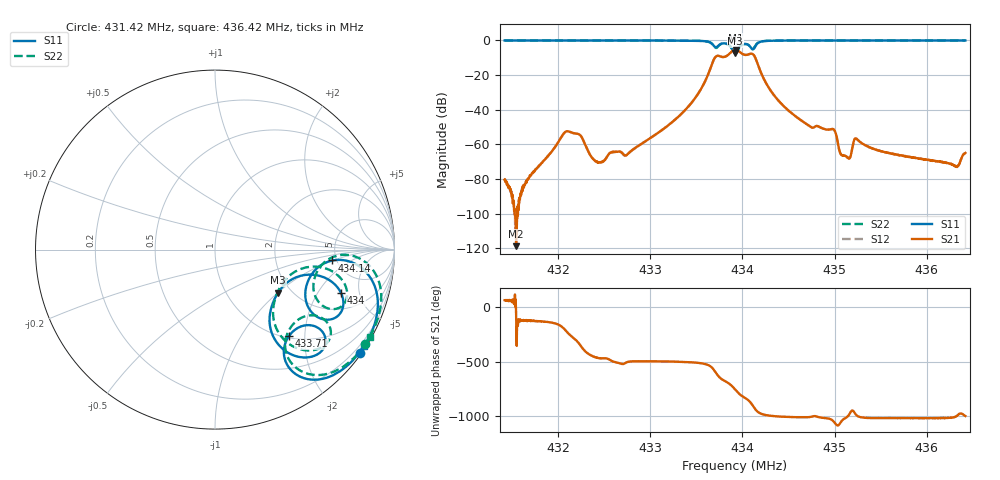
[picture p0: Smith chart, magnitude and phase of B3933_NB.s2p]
! Matrix data file written by TouchstoneData, EPCOS AG
! FILENAME: "LT70A_NB.s2p"
! COMMENT: "PCB: 2019; PINNING: 14; Ls=39nH; 25 Mar 2008"
! INFO: nport=2, nfreq=1601
! DATE: "Wed Apr  9 13:13:28 2008"
! USER: "Thomas Telgmann"
! port | pin | signal
!  1  |  1  |  in
!  2  |  4  |  out
# MHZ S MA R 50
! freq  magS11 angS11  magS21 angS21  magS12 angS12  magS22 angS22
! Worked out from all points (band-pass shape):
!   1601 points, 431.42 MHz to 436.42 MHz, reference 50 ohm
!   highest |S21| = -5.53 dB at 433.93 MHz (marker M1); lowest = -118.7 dB at 431.55 MHz (marker M2)
!   |S21| within 3 dB of the highest: 433.8425 MHz to 434.1238 MHz (281.3 kHz wide, 0.0648 % of centre)
!   lowest |S11| = -7.4 dB at 433.92 MHz (marker M3), VSWR 2.48, Z = 85.6 - j50.1 ohm
!   |S11| at or under -10 dB: nowhere
!   |S22| runs from -7.6 to -0.1 dB; largest |S21 - S12| = 0.0011
!   S11 on the Smith chart (normalised r, x): 431.42 MHz: 0.06, -3.13; 433.71 MHz: 1.03, -1.67; 434 MHz: 3.05, -3.28; 434.14 MHz: 4.61, -0.98; 436.42 MHz: 0.07, -3.41
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431.42  0.9888 -35.5  9.672e-05 63.3  0.0001013 61.4  0.9894 -32.1
431.545  0.9889 -35.6  1.161e-06 -70.4  3.67e-06 4.5  0.9892 -32.2
431.6794  0.9888 -35.7  0.0001061 -120.1  0.0001036 -125.1  0.9891 -32.4
432.0825  0.9859 -36.2  0.002315 145.9  0.002317 146.1  0.9862 -32.9
432.2544  0.9855 -36.4  0.001655 -5.0  0.00165 -4.7  0.9861 -33.0
432.4575  0.9871 -36.7  0.0003039 -108.3  0.0003034 -108.2  0.9878 -33.4
433.0888  0.9848 -39.0  0.002191 -137.2  0.002168 -137.0  0.9853 -35.7
433.4669  0.9727 -43.9  0.01826 -147.1  0.01827 -147.0  0.9733 -40.8
433.7075  0.6342 -49.6  0.3286 123.8  0.3283 123.9  0.6083 -47.1
433.92  0.4273 -37.2  0.5247 -33.9  0.5243 -33.8  0.4198 -32.6
433.9231  0.4252 -34.3  0.5268 -36.8  0.5263 -36.7  0.4186 -29.6
433.9294  0.4306 -28.2  0.5291 -42.8  0.5287 -42.7  0.4253 -23.5
433.995  0.7422 -19.0  0.414 -95.1  0.4135 -95.0  0.7392 -14.2
434.1388  0.6571 -5.3  0.3202 145.0  0.3196 145.2  0.687 -2.7
434.3606  0.9776 -23.5  0.02282 78.4  0.02281 78.6  0.9796 -20.2
434.7544  0.9873 -29.1  0.003055 74.4  0.003064 74.6  0.988 -25.7
434.9856  0.9874 -30.3  0.002746 34.7  0.002758 34.9  0.9881 -26.9
435.1419  0.9888 -30.8  0.0004086 77.1  0.0004146 76.6  0.9894 -27.4
435.2356  0.9885 -31.0  0.001466 90.1  0.001462 90.4  0.9891 -27.6
435.5888  0.9894 -31.8  0.0005654 62.4  0.0005591 61.5  0.9898 -28.4
436.32  0.9895 -32.6  0.0002314 76.8  0.0002332 78.2  0.9898 -29.2
436.42  0.9892 -32.7  0.0005652 81.1  0.0005535 82.1  0.9897 -29.3
